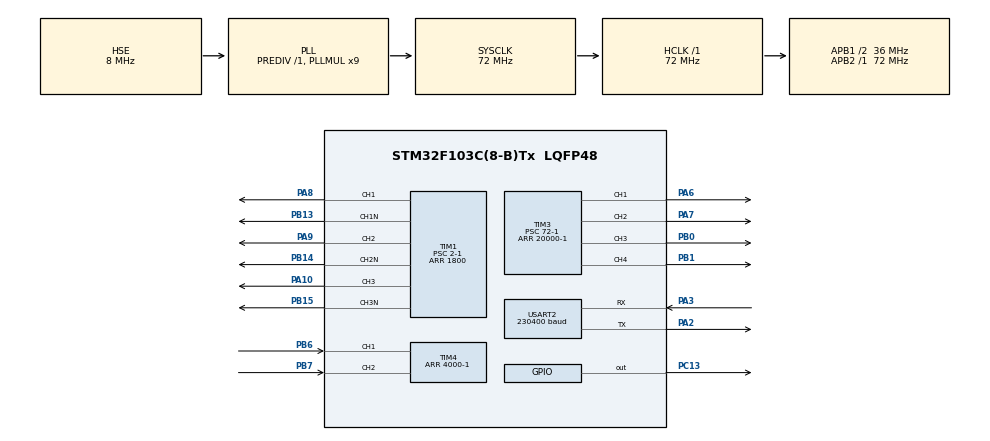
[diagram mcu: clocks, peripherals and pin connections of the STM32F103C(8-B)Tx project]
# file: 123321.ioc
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Mcu.Family=STM32F1
Mcu.Name=STM32F103C(8-B)Tx
Mcu.Package=LQFP48
NVIC.PriorityGroup=NVIC_PRIORITYGROUP_4
NVIC.TIM2_IRQn=true\:0\:0\:false\:false\:true\:true\:true\:true
NVIC.TIM4_IRQn=true\:5\:0\:true\:false\:true\:true\:true\:true
NVIC.USART2_IRQn=true\:0\:0\:false\:false\:true\:true\:true\:true
PA10.Signal=S_TIM1_CH3
PA13.Mode=Serial_Wire
PA13.Signal=SYS_JTMS-SWDIO
PA14.Mode=Serial_Wire
PA14.Signal=SYS_JTCK-SWCLK
PA2.Mode=Asynchronous
PA2.Signal=USART2_TX
PA3.Mode=Asynchronous
PA3.Signal=USART2_RX
PA6.Signal=S_TIM3_CH1
PA7.Signal=S_TIM3_CH2
PA8.Signal=S_TIM1_CH1
PA9.Signal=S_TIM1_CH2
PB0.Signal=S_TIM3_CH3
PB1.Signal=S_TIM3_CH4
PB13.Mode=PWM Generation1 CH1 CH1N
PB13.Signal=TIM1_CH1N
PB14.Mode=PWM Generation2 CH2 CH2N
PB14.Signal=TIM1_CH2N
PB15.Mode=PWM Generation3 CH3 CH3N
PB15.Signal=TIM1_CH3N
PB6.Signal=S_TIM4_CH1
PB7.Signal=S_TIM4_CH2
PC13-TAMPER-RTC.GPIO_Speed=GPIO_SPEED_FREQ_LOW
PC13-TAMPER-RTC.Signal=GPIO_Output
PC14-OSC32_IN.Mode=LSE-External-Oscillator
PC14-OSC32_IN.Signal=RCC_OSC32_IN
PC15-OSC32_OUT.Mode=LSE-External-Oscillator
PC15-OSC32_OUT.Signal=RCC_OSC32_OUT
PD0-OSC_IN.Mode=HSE-External-Oscillator
PD0-OSC_IN.Signal=RCC_OSC_IN
PD1-OSC_OUT.Mode=HSE-External-Oscillator
PD1-OSC_OUT.Signal=RCC_OSC_OUT
ProjectManager.HeapSize=0x200
ProjectManager.StackSize=0x400
ProjectManager.TargetToolchain=MDK-ARM V5.32
RCC.AHBFreq_Value=72000000
RCC.APB1CLKDivider=RCC_HCLK_DIV2
RCC.APB1Freq_Value=36000000
RCC.APB1TimFreq_Value=72000000
RCC.APB2Freq_Value=72000000
RCC.APB2TimFreq_Value=72000000
RCC.FLatency=FLASH_LATENCY_2
RCC.HCLKFreq_Value=72000000
RCC.PLLMUL=RCC_PLL_MUL9
RCC.PLLSourceVirtual=RCC_PLLSOURCE_HSE
RCC.SYSCLKFreq_VALUE=72000000
RCC.SYSCLKSource=RCC_SYSCLKSOURCE_PLLCLK
RCC.USBFreq_Value=72000000
SH.S_TIM1_CH1.0=TIM1_CH1,PWM Generation1 CH1 CH1N
SH.S_TIM1_CH2.0=TIM1_CH2,PWM Generation2 CH2 CH2N
SH.S_TIM1_CH3.0=TIM1_CH3,PWM Generation3 CH3 CH3N
SH.S_TIM3_CH1.0=TIM3_CH1,PWM Generation1 CH1
SH.S_TIM3_CH2.0=TIM3_CH2,PWM Generation2 CH2
SH.S_TIM3_CH3.0=TIM3_CH3,PWM Generation3 CH3
SH.S_TIM3_CH4.0=TIM3_CH4,PWM Generation4 CH4
SH.S_TIM4_CH1.0=TIM4_CH1,Encoder_Interface
SH.S_TIM4_CH2.0=TIM4_CH2,Encoder_Interface
TIM1.AutoReloadPreload=TIM_AUTORELOAD_PRELOAD_ENABLE
TIM1.Channel-PWM\ Generation1\ CH1\ CH1N=TIM_CHANNEL_1
TIM1.Channel-PWM\ Generation2\ CH2\ CH2N=TIM_CHANNEL_2
TIM1.Channel-PWM\ Generation3\ CH3\ CH3N=TIM_CHANNEL_3
TIM1.CounterMode=TIM_COUNTERMODE_CENTERALIGNED1
TIM1.Period=1800
TIM1.Prescaler=2-1
TIM2.AutoReloadPreload=TIM_AUTORELOAD_PRELOAD_ENABLE
TIM2.Period=1000-1
TIM2.Prescaler=72-1
TIM3.AutoReloadPreload=TIM_AUTORELOAD_PRELOAD_ENABLE
TIM3.Channel-PWM\ Generation1\ CH1=TIM_CHANNEL_1
TIM3.Channel-PWM\ Generation2\ CH2=TIM_CHANNEL_2
TIM3.Channel-PWM\ Generation3\ CH3=TIM_CHANNEL_3
TIM3.Channel-PWM\ Generation4\ CH4=TIM_CHANNEL_4
TIM3.OCFastMode_PWM-PWM\ Generation1\ CH1=TIM_OCFAST_ENABLE
TIM3.OCFastMode_PWM-PWM\ Generation2\ CH2=TIM_OCFAST_ENABLE
TIM3.OCFastMode_PWM-PWM\ Generation4\ CH4=TIM_OCFAST_ENABLE
TIM3.Period=20000-1
TIM3.Prescaler=72-1
TIM4.EncoderMode=TIM_ENCODERMODE_TI12
TIM4.IC1Filter=1
TIM4.IC2Filter=1
TIM4.Period=4000-1
USART2.BaudRate=230400
USART2.VirtualMode=VM_ASYNC
VP_TIM1_VS_ClockSourceINT.Mode=Internal
VP_TIM2_VS_ClockSourceINT.Mode=Internal
VP_TIM3_VS_ClockSourceINT.Mode=Internal
board=custom

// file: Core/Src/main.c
/* USER CODE BEGIN Header */
/**
  ******************************************************************************
  * @file           : main.c
  * @brief          : Main program body
  ******************************************************************************
  * @attention
  *
  * Copyright (c) 2026 STMicroelectronics.
  * All rights reserved.
  *
  * This software is licensed under terms that can be found in the LICENSE file
  * in the root directory of this software component.
  * If no LICENSE file comes with this software, it is provided AS-IS.
  *
  ******************************************************************************
  */
/* USER CODE END Header */
#include "main.h"
#include "tim.h"
#include "usart.h"
#include "gpio.h"

/* USER CODE BEGIN PV */
volatile uint32_t tim2_irq_count = 0;

/* USER CODE END PV */

void SystemClock_Config(void);

/* USER CODE BEGIN 0 */
int Encoder_Overflow_count=0;

void HAL_TIM_PeriodElapsedCallback(TIM_HandleTypeDef *htim) //?????????,????????
{
/* TIM4????????,TIM4???? */
	  if(htim-> Instance == TIM2){
              tim2_irq_count++;

			//suaiosda
		     }
    if(htim->Instance == TIM4)    //????TIM4
    {
        if((TIM4->CR1>>4&0x01)==0)   //????DIR?,????????????
        {
            Encoder_Overflow_count++;
        }
        else if((TIM4->CR1>>4&0x01)==1)
        {
            Encoder_Overflow_count--;
        }
    }
}

/* USER CODE END 0 */

int main(void)
{

  /* MCU Configuration--------------------------------------------------------*/

  /* Reset of all peripherals, Initializes the Flash interface and the Systick. */
  HAL_Init();

  /* Configure the system clock */
  SystemClock_Config();

  /* Initialize all configured peripherals */
  MX_GPIO_Init();
  MX_TIM3_Init();
  MX_TIM4_Init();
  MX_TIM2_Init();
  MX_TIM1_Init();
  MX_USART2_UART_Init();
  /* USER CODE BEGIN 2 */
	HAL_TIM_PWM_Start(&htim1,TIM_CHANNEL_1);
	HAL_TIMEx_PWMN_Start(&htim1,TIM_CHANNEL_1);
	HAL_TIM_PWM_Start(&htim1,TIM_CHANNEL_2);
	HAL_TIMEx_PWMN_Start(&htim1,TIM_CHANNEL_2);
	HAL_TIM_PWM_Start(&htim1,TIM_CHANNEL_3);
	HAL_TIMEx_PWMN_Start(&htim1,TIM_CHANNEL_3);
	TIM1->CCR1= 280;
	TIM1->CCR2= 560;
	TIM1->CCR3= 1280;
	HAL_TIM_Encoder_Start_IT(&htim4,TIM_CHANNEL_ALL);
	__HAL_TIM_ENABLE_IT(&htim4,TIM_IT_UPDATE);
	HAL_TIM_PWM_Start(&htim3,TIM_CHANNEL_1);
	HAL_TIM_PWM_Start(&htim3,TIM_CHANNEL_2);
	HAL_TIM_PWM_Start(&htim3,TIM_CHANNEL_3);
	HAL_TIM_PWM_Start(&htim3,TIM_CHANNEL_4);
	 TIM3->CCR1 = 5000;
        TIM3->CCR2 = 10000;
        TIM3->CCR3 = 15000;
        TIM3->CCR4 = 19000;

	HAL_TIM_Base_Start_IT(&htim2);
	__HAL_TIM_ENABLE_IT(&htim2,TIM_IT_UPDATE);

  /* USER CODE END 2 */

  /* Infinite loop */
  while (1)
  {

    /* USER CODE BEGIN 3 */
		            HAL_GPIO_WritePin(GPIOC, GPIO_PIN_13, GPIO_PIN_RESET);
                HAL_Delay(800);
                HAL_GPIO_WritePin(GPIOC, GPIO_PIN_13, GPIO_PIN_SET);//??????
                HAL_Delay(800);
  }
  /* USER CODE END 3 */
}

void SystemClock_Config(void)
{
  RCC_OscInitTypeDef RCC_OscInitStruct = {0};
  RCC_ClkInitTypeDef RCC_ClkInitStruct = {0};

  /** Initializes the RCC Oscillators according to the specified parameters
  * in the RCC_OscInitTypeDef structure.
  */
  RCC_OscInitStruct.OscillatorType = RCC_OSCILLATORTYPE_HSE;
  RCC_OscInitStruct.HSEState = RCC_HSE_ON;
  RCC_OscInitStruct.HSEPredivValue = RCC_HSE_PREDIV_DIV1;
  RCC_OscInitStruct.HSIState = RCC_HSI_ON;
  RCC_OscInitStruct.PLL.PLLState = RCC_PLL_ON;
  RCC_OscInitStruct.PLL.PLLSource = RCC_PLLSOURCE_HSE;
  RCC_OscInitStruct.PLL.PLLMUL = RCC_PLL_MUL9;
  if (HAL_RCC_OscConfig(&RCC_OscInitStruct) != HAL_OK)
  {
    Error_Handler();
  }

  /** Initializes the CPU, AHB and APB buses clocks
  */
  RCC_ClkInitStruct.ClockType = RCC_CLOCKTYPE_HCLK|RCC_CLOCKTYPE_SYSCLK
                              |RCC_CLOCKTYPE_PCLK1|RCC_CLOCKTYPE_PCLK2;
  RCC_ClkInitStruct.SYSCLKSource = RCC_SYSCLKSOURCE_PLLCLK;
  RCC_ClkInitStruct.AHBCLKDivider = RCC_SYSCLK_DIV1;
  RCC_ClkInitStruct.APB1CLKDivider = RCC_HCLK_DIV2;
  RCC_ClkInitStruct.APB2CLKDivider = RCC_HCLK_DIV1;

  if (HAL_RCC_ClockConfig(&RCC_ClkInitStruct, FLASH_LATENCY_2) != HAL_OK)
  {
    Error_Handler();
  }
}

void Error_Handler(void)
{
  __disable_irq();
  while (1)
  {
  }
}
